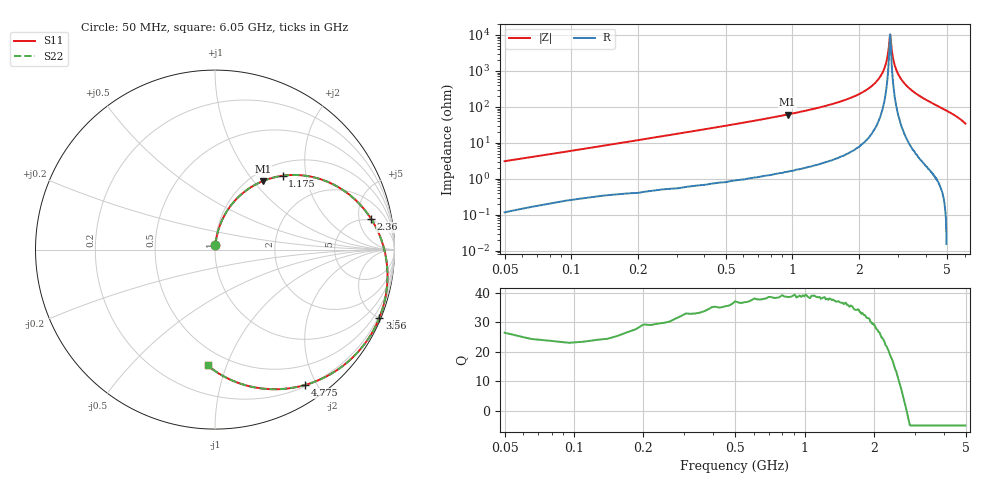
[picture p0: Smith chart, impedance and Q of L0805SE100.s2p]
! AVX Thin Film Operation		Date: May 2002
! Description: Accu-L® Series, Thin Film, SMD, RF Inductors
! Part Number: L0805100GEWTR
! 50 MHz  -  6.05 GHz
! Serial Measurements
# mhz S db R 50
!	S11		S21		S12		S22
!	dB	Phase	dB	Phase	dB	Phase	dB	Phase
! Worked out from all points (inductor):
!   401 points, 50 MHz to 6.05 GHz, reference 50 ohm
!   read as 1/Y11, port 2 shorted: L = 9.48 nH near 80 MHz
!   highest Q = 39 at 950 MHz (marker M1), where L = 10.3 nH
!   self-resonance near 2.75 GHz
!   S11 on the Smith chart (normalised r, x): 50 MHz: 1.00, +0.06; 1.175 GHz: 1.23, +1.47; 2.36 GHz: 4.62, +7.39; 3.56 GHz: 0.11, -5.02; 4.775 GHz: 0.22, -1.85; 6.05 GHz: 0.39, -0.86
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50  -30.90 85.1  -0.01 -1.9  -0.01 -1.9  -30.90 85.1
170  -20.75 81.4  -0.07 -6.2  -0.07 -6.2  -20.75 81.4
320  -15.42 76.5  -0.17 -11.5  -0.17 -11.5  -15.42 76.5
575  -10.57 67.8  -0.47 -20.4  -0.47 -20.4  -10.57 67.8
950  -6.63 55.0  -1.16 -33.0  -1.16 -33.0  -6.63 55.0
1055  -5.85 51.5  -1.42 -36.4  -1.42 -36.4  -5.85 51.5
1175  -5.08 47.6  -1.74 -40.3  -1.74 -40.3  -5.08 47.6
2060  -1.66 20.0  -5.26 -67.1  -5.26 -67.1  -1.66 20.0
2360  -1.05 11.2  -7.09 -75.4  -7.09 -75.4  -1.05 11.2
3050  -0.25 -8.4  -14.12 -93.0  -14.10 -93.0  -0.25 -8.4
3245  -0.15 -13.8  -17.92 -96.9  -17.90 -96.9  -0.15 -13.8
3395  -0.10 -18.0  -22.68 -98.3  -22.70 -98.3  -0.10 -18.0
3485  -0.08 -20.4  -27.60 -95.3  -27.60 -95.3  -0.08 -20.4
3560  -0.07 -22.5  -34.28 -49.3  -34.30 -49.3  -0.07 -22.5
3605  -0.07 -23.7  -40.09 -15.3  -40.00 -15.3  -0.07 -23.7
3695  -0.08 -26.2  -29.10 51.2  -29.10 51.2  -0.08 -26.2
3785  -0.09 -28.7  -23.58 57.9  -23.60 57.9  -0.09 -28.7
4055  -0.19 -36.2  -15.89 55.3  -15.90 55.3  -0.19 -36.2
4385  -0.42 -45.4  -11.26 47.8  -11.30 47.8  -0.42 -45.4
4775  -0.86 -56.3  -7.92 38.1  -7.92 38.1  -0.86 -56.3
5060  -1.30 -64.5  -6.19 30.9  -6.19 30.9  -1.30 -64.5
6050  -3.78 -93.6  -2.52 5.5  -2.52 5.5  -3.78 -93.6
